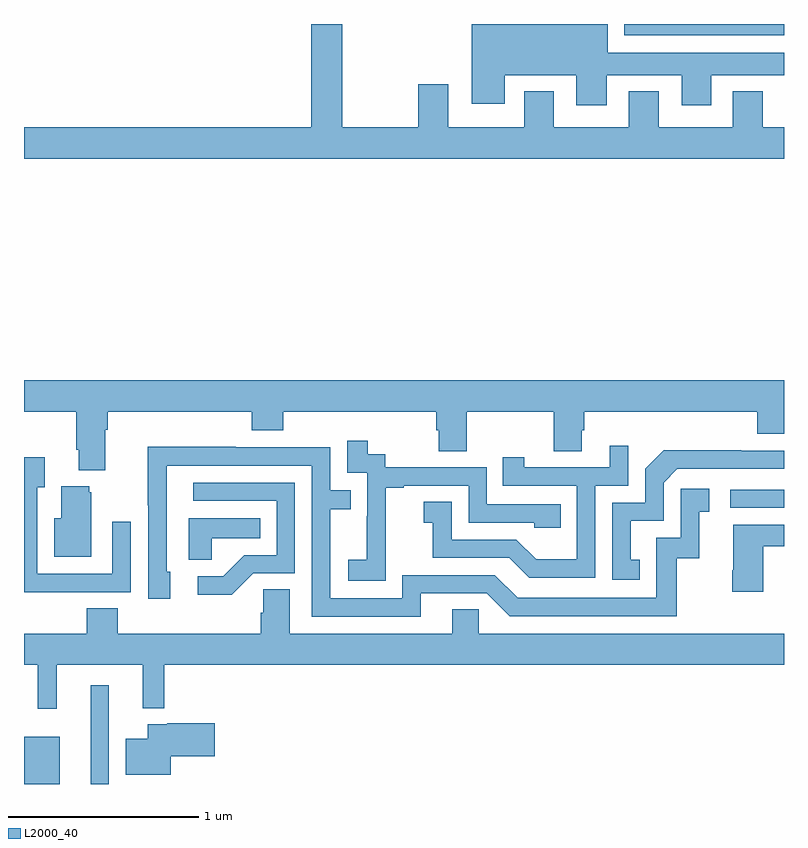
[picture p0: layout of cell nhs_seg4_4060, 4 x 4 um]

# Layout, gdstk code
import gdstk
lib = gdstk.Library(unit=1e-6, precision=1e-09)
def R(c, l, rs):  # rectangles x0, y0, x1, y1
    for r in rs: c.add(gdstk.rectangle(r[:2], r[2:], *l))
def P(c, l, *ps):  # polygons
    for p in ps: c.add(gdstk.Polygon(p, *l))
L2000_40 = (2000, 40)

nhs_seg4_4060 = lib.new_cell('nhs_seg4_4060')
R(nhs_seg4_4060, L2000_40, [(327,754.9,327.187,755.149), (327.35,754.9,327.447,755.419), (330.717,756.354,331,756.45), (330.158,758.841,331,758.9)])
P(nhs_seg4_4060, L2000_40, [(330.067,758.63),(330.461,758.63),(330.461,758.472),(330.616,758.472),(330.616,758.63),(331,758.63),(331,758.749),(330.073,758.749),(330.073,758.9),(329.357,758.9),(329.357,758.48),(329.53,758.48),(329.53,758.63),(329.906,758.63),(329.906,758.472),(330.067,758.472)],
  [(331,758.356),(330.889,758.356),(330.889,758.545),(330.731,758.545),(330.731,758.356),(330.34,758.356),(330.34,758.545),(330.182,758.545),(330.182,758.356),(329.788,758.356),(329.788,758.545),(329.633,758.545),(329.633,758.356),(329.233,758.356),(329.233,758.584),(329.074,758.584),(329.074,758.356),(328.675,758.356),(328.675,758.9),(328.511,758.9),(328.511,758.356),(327,758.356),(327,758.192),(331,758.192)],
  [(327.427,756.764),(327.44,756.764),(327.44,756.86),(328.199,756.86),(328.199,756.761),(328.364,756.761),(328.364,756.86),(329.171,756.86),(329.171,756.762),(329.183,756.762),(329.183,756.652),(329.331,756.652),(329.331,756.86),(329.788,756.86),(329.788,756.652),(329.935,756.652),(329.935,756.762),(329.948,756.762),(329.948,756.86),(330.86,756.86),(330.86,756.743),(331,756.743),(331,757.024),(327,757.024),(327,756.86),(327.275,756.86),(327.275,756.658),(327.287,756.658),(327.287,756.551),(327.427,756.551)],
  [(328.905,756.175),(328.904,756.175),(328.904,756.459),(328.999,756.459),(328.999,756.471),(329.34,756.471),(329.34,756.276),(329.685,756.276),(329.685,756.249),(329.825,756.249),(329.825,756.372),(329.436,756.372),(329.436,756.567),(328.902,756.567),(328.902,756.636),(328.81,756.636),(328.81,756.706),(328.701,756.706),(328.701,756.537),(328.806,756.537),(328.806,756.308),(328.805,756.308),(328.805,756.079),(328.707,756.079),(328.707,755.969),(328.905,755.969)],
  [(330.006,756.471),(330.18,756.471),(330.18,756.679),(330.083,756.679),(330.083,756.567),(329.632,756.567),(329.632,756.619),(329.521,756.619),(329.521,756.471),(329.91,756.471),(329.91,756.082),(329.696,756.082),(329.592,756.186),(329.25,756.186),(329.25,756.385),(329.103,756.385),(329.103,756.275),(329.152,756.275),(329.152,756.09),(329.555,756.09),(329.66,755.985),(330.006,755.985)],
  [(329.089,755.904),(329.436,755.904),(329.556,755.784),(330.436,755.784),(330.436,756.087),(330.554,756.087),(330.554,756.333),(330.607,756.333),(330.607,756.454),(330.456,756.454),(330.456,756.195),(330.327,756.195),(330.327,755.88),(329.598,755.88),(329.478,756),(328.992,756),(328.992,755.877),(328.611,755.877),(328.611,756.346),(328.721,756.346),(328.721,756.447),(328.611,756.447),(328.611,756.672),(328.115,756.672),(328.115,756.674),(327.652,756.674),(327.652,756.367),(327.654,756.367),(327.654,755.874),(327.769,755.874),(327.769,756.018),(327.75,756.018),(327.75,756.576),(328.515,756.576),(328.515,755.781),(329.089,755.781)],
  [(330.242,756.081),(330.193,756.081),(330.193,756.285),(330.366,756.285),(330.366,756.486),(330.438,756.558),(331,756.558),(331,756.654),(330.776,756.654),(330.776,756.656),(330.368,756.656),(330.27,756.558),(330.27,756.381),(330.096,756.381),(330.096,755.976),(330.242,755.976)],
  [(327.245,755.91),(327.561,755.91),(327.561,756.28),(327.465,756.28),(327.465,756.006),(327.069,756.006),(327.069,756.463),(327.109,756.463),(327.109,756.619),(327,756.619),(327,755.909),(327.245,755.909)],
  [(328.206,756.009),(328.425,756.009),(328.425,756.486),(327.891,756.486),(327.891,756.39),(328.329,756.39),(328.329,756.105),(328.16,756.105),(328.049,755.994),(327.915,755.994),(327.915,755.897),(328.093,755.897)],
  [(327.355,756.435),(327.344,756.435),(327.344,756.466),(327.197,756.466),(327.197,756.298),(327.158,756.298),(327.158,756.095),(327.355,756.095)],
  [(327.987,756.194),(328.244,756.194),(328.244,756.298),(327.866,756.298),(327.866,756.079),(327.987,756.079)],
  [(330.892,756.151),(331,756.151),(331,756.265),(330.734,756.265),(330.734,756.025),(330.727,756.025),(330.727,755.913),(330.892,755.913)],
  [(327.173,755.528),(327.626,755.528),(327.626,755.3),(327.739,755.3),(327.739,755.528),(331,755.528),(331,755.692),(329.394,755.692),(329.394,755.819),(329.255,755.819),(329.255,755.692),(328.399,755.692),(328.399,755.924),(328.26,755.924),(328.26,755.801),(328.247,755.801),(328.247,755.692),(327.494,755.692),(327.494,755.825),(327.329,755.825),(327.329,755.692),(327,755.692),(327,755.528),(327.073,755.528),(327.073,755.295),(327.173,755.295)],
  [(327.772,755.045),(328.003,755.045),(328.003,755.22),(327.754,755.22),(327.754,755.215),(327.65,755.215),(327.65,755.137),(327.536,755.137),(327.536,754.949),(327.772,754.949)])

lib.write_gds('nhs_seg4_4060.gds')
